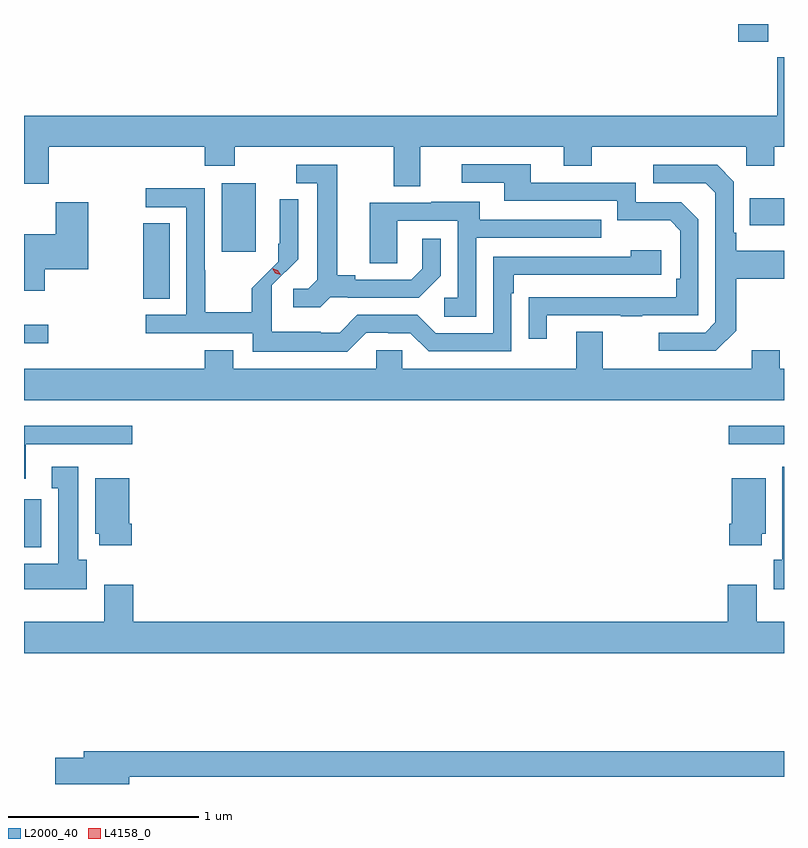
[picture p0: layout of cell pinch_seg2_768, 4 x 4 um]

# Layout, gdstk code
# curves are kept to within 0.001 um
import gdstk
lib = gdstk.Library(unit=1e-6, precision=1e-09)
def R(c, l, rs):  # rectangles x0, y0, x1, y1
    for r in rs: c.add(gdstk.rectangle(r[:2], r[2:], *l))
def P(c, l, *ps):  # polygons
    for p in ps: c.add(gdstk.Polygon(p, *l))
L2000_40 = (2000, 40)
L4158_0 = (4158, 0)

pinch_seg2_768 = lib.new_cell('pinch_seg2_768')
R(pinch_seg2_768, L2000_40, [(674.883,625.55,674.973,625.801), (678.591,626.091,678.883,626.188), (674.883,626.624,675.01,626.721), (675.511,626.857,675.649,627.254), (675.923,627.104,676.102,627.466), (678.703,627.245,678.883,627.385), (678.641,628.209,678.801,628.303)])
P(pinch_seg2_768, L2000_40, [(674.883,627.462),(675.014,627.462),(675.014,627.656),(675.833,627.656),(675.833,627.557),(675.993,627.557),(675.993,627.656),(676.829,627.656),(676.829,627.448),(676.969,627.448),(676.969,627.656),(677.723,627.656),(677.723,627.557),(677.871,627.557),(677.871,627.656),(678.684,627.656),(678.684,627.557),(678.831,627.557),(678.831,627.656),(678.883,627.656),(678.883,628.129),(678.848,628.129),(678.848,627.82),(674.883,627.82)],
  [(677.635,626.769),(678.025,626.769),(678.025,626.764),(678.137,626.764),(678.137,626.769),(678.432,626.769),(678.432,627.276),(678.342,627.366),(678.102,627.366),(678.102,627.468),(677.551,627.468),(677.551,627.564),(677.187,627.564),(677.187,627.468),(677.411,627.468),(677.411,627.372),(678.006,627.372),(678.006,627.269),(678.283,627.269),(678.336,627.216),(678.336,626.962),(678.316,626.962),(678.316,626.865),(677.539,626.864),(677.539,626.646),(677.635,626.646)],
  [(676.494,626.865),(676.588,626.865),(676.588,626.862),(676.96,626.862),(677.076,626.978),(677.076,627.172),(676.979,627.172),(676.979,627.015),(676.922,626.958),(676.627,626.958),(676.627,626.981),(676.531,626.981),(676.531,627.561),(676.317,627.561),(676.317,627.465),(676.427,627.465),(676.427,626.957),(676.38,626.91),(676.299,626.91),(676.299,626.813),(676.442,626.813)],
  [(678.631,626.689),(678.631,626.962),(678.883,626.962),(678.883,627.109),(678.631,627.109),(678.631,627.205),(678.618,627.205),(678.618,627.474),(678.531,627.561),(678.195,627.561),(678.195,627.465),(678.471,627.465),(678.522,627.414),(678.522,626.733),(678.468,626.679),(678.225,626.679),(678.225,626.583),(678.525,626.583)],
  [(676.683,626.679),(676.799,626.679),(676.799,626.676),(676.917,626.676),(677.013,626.58),(677.448,626.58),(677.448,626.885),(677.461,626.885),(677.461,626.982),(678.238,626.982),(678.238,627.112),(678.077,627.112),(678.077,627.078),(677.352,627.078),(677.352,626.676),(677.049,626.676),(676.953,626.772),(676.638,626.772),(676.545,626.679),(676.445,626.679),(676.445,626.683),(676.188,626.683),(676.188,626.928),(676.326,627.066),(676.326,627.38),(676.23,627.38),(676.23,627.146),(676.221,627.146),(676.221,627.051),(676.081,626.911),(676.081,626.785),(675.837,626.785),(675.837,627.008),(675.834,627.008),(675.834,627.438),(675.525,627.438),(675.525,627.339),(675.738,627.339),(675.738,626.772),(675.525,626.772),(675.525,626.676),(676.086,626.676),(676.086,626.579),(676.583,626.579)],
  [(677.262,627.177),(677.921,627.177),(677.921,627.273),(677.281,627.273),(677.281,627.367),(677.027,627.367),(677.027,627.363),(676.703,627.363),(676.703,627.043),(676.848,627.043),(676.848,627.267),(677.166,627.267),(677.166,626.862),(677.094,626.862),(677.094,626.761),(677.262,626.761)],
  [(674.992,627.011),(675.222,627.011),(675.222,627.364),(675.049,627.364),(675.049,627.196),(674.883,627.196),(674.883,626.9),(674.992,626.9)],
  [(678.883,626.488),(678.861,626.488),(678.861,626.587),(678.713,626.587),(678.713,626.488),(677.929,626.488),(677.929,626.683),(677.789,626.683),(677.789,626.488),(676.875,626.488),(676.875,626.586),(676.737,626.586),(676.737,626.488),(675.985,626.488),(675.985,626.587),(675.833,626.587),(675.833,626.488),(674.883,626.488),(674.883,626.324),(678.883,626.324)],
  [(674.893,626.091),(675.454,626.091),(675.454,626.188),(674.883,626.188),(674.883,625.91),(674.893,625.91)],
  [(678.883,625.972),(678.875,625.972),(678.875,625.482),(678.83,625.482),(678.83,625.328),(678.883,625.328)],
  [(675.214,625.482),(675.169,625.482),(675.169,625.972),(675.029,625.972),(675.029,625.859),(675.062,625.859),(675.062,625.462),(674.883,625.462),(674.883,625.328),(675.214,625.328)],
  [(675.449,625.672),(675.436,625.672),(675.436,625.912),(675.257,625.912),(675.257,625.62),(675.278,625.62),(675.278,625.56),(675.449,625.56)],
  [(678.766,625.62),(678.787,625.62),(678.787,625.912),(678.608,625.912),(678.608,625.672),(678.596,625.672),(678.596,625.56),(678.766,625.56)],
  [(678.883,625.156),(678.739,625.156),(678.739,625.351),(678.587,625.351),(678.587,625.156),(675.458,625.156),(675.458,625.351),(675.305,625.351),(675.305,625.156),(674.883,625.156),(674.883,624.992),(678.883,624.992)],
  [(675.436,624.34),(678.883,624.34),(678.883,624.476),(675.197,624.476),(675.197,624.44),(675.048,624.44),(675.048,624.303),(675.436,624.303)])
P(pinch_seg2_768, L4158_0, [(676.232,626.983),(676.205,626.992),(676.19,627.017),(676.19,627.017),(676.19,627.017),(676.218,627.008),(676.233,626.983),(676.233,626.983)])

lib.write_gds('pinch_seg2_768.gds')
